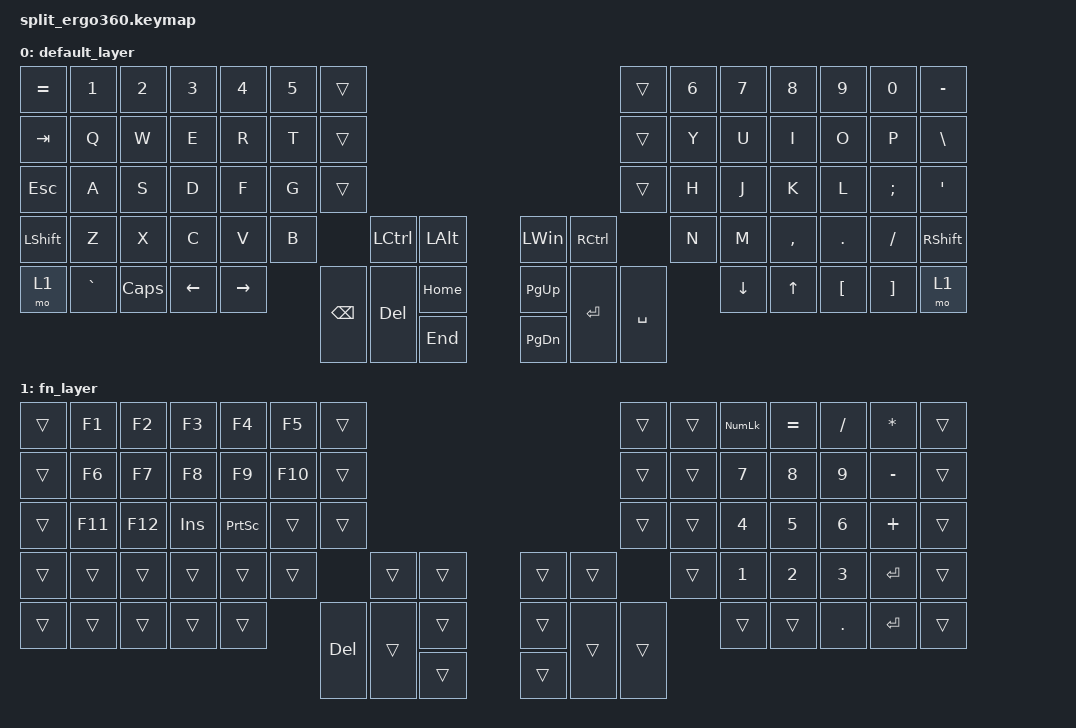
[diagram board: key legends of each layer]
// This file was generated from a template. Edit it to match your keyboard.
// See https://zmk.dev/docs/development/hardware-integration/new-shield for more instructions.

#include <behaviors.dtsi>
#include <dt-bindings/zmk/keys.h>

#define DEFAULT 0
#define FN  1

/ {
    // Define a default keymap here.
    // See https://zmk.dev/docs/development/hardware-integration/new-shield#default-keymap.
    keymap {
        compatible = "zmk,keymap";

        default_layer {
            bindings = <
&kp EQUAL       &kp N1     &kp N2    &kp N3    &kp N4     &kp N5  &trans                                                    &trans     &kp N6  &kp N7    &kp N8     &kp N9      &kp N0     &kp MINUS
&kp TAB         &kp Q      &kp W     &kp E     &kp R      &kp T   &trans                                                    &trans     &kp Y   &kp U     &kp I      &kp O       &kp P      &kp BACKSLASH
&kp ESCAPE      &kp A      &kp S     &kp D     &kp F      &kp G   &trans                                                    &trans     &kp H   &kp J     &kp K      &kp L       &kp SEMI   &kp SQT
&kp LEFT_SHIFT  &kp Z      &kp X     &kp C     &kp V      &kp B             &kp LCTRL  &kp LALT    &kp LEFT_WIN  &kp RCTRL             &kp N   &kp M     &kp COMMA  &kp PERIOD  &kp SLASH  &kp RIGHT_SHIFT
&mo 1           &kp GRAVE  &kp CAPS  &kp LEFT  &kp RIGHT          &kp BSPC  &kp DEL    &kp HOME    &kp PG_UP     &kp ENTER  &kp SPACE          &kp DOWN  &kp UP     &kp LBKT    &kp RBKT   &mo 1
                                                                                       &kp END     &kp PG_DN
            >;
        };

        fn_layer {
            // ---------------------------------------------------------------------------------------------------------------------------------
            // |BT_CLR|  F1  |  F2  |  F3  |  F4  |  F5  |                                                   |      | NLCK |  =   |  /   |  *   |      |
            // |      |  F6  |  F7  |  F8  |  F9  |  F10 |                                                   |      |  7   |  8   |  9   |  -   |      |
            // |      |      |      |      |      |      |                                                   |      |  4   |  5   |  6   |  +   |      |
            // |      |      |      |      |      | PTSC |      |      |      |         |      |      |      |      |  1   |  2   |  3   | ENT  |      |
            //        |      | INS  |      |      |      |      |  FN  |      |         |      |      |      |      |      |      |  .   | ENT  |
            //                                                         |      |         |      |

            bindings = <
&trans  &kp F1   &kp F2   &kp F3   &kp F4           &kp F5   &trans                                     &trans  &trans  &kp KP_NUM  &kp EQUAL  &kp SLASH  &kp STAR   &trans
&trans  &kp F6   &kp F7   &kp F8   &kp F9           &kp F10  &trans                                     &trans  &trans  &kp N7      &kp N8     &kp N9     &kp MINUS  &trans
&trans  &kp F11  &kp F12  &kp INS  &kp PRINTSCREEN  &trans   &trans                                     &trans  &trans  &kp N4      &kp N5     &kp N6     &kp PLUS   &trans
&trans  &trans   &trans   &trans   &trans           &trans            &trans  &trans    &trans  &trans          &trans  &kp N1      &kp N2     &kp N3     &kp ENTER  &trans
&trans  &trans   &trans   &trans   &trans                    &kp DEL  &trans  &trans    &trans  &trans  &trans          &trans      &trans     &kp DOT    &kp ENTER  &trans
                                                                              &trans    &trans
            >;
        };

    };
};
